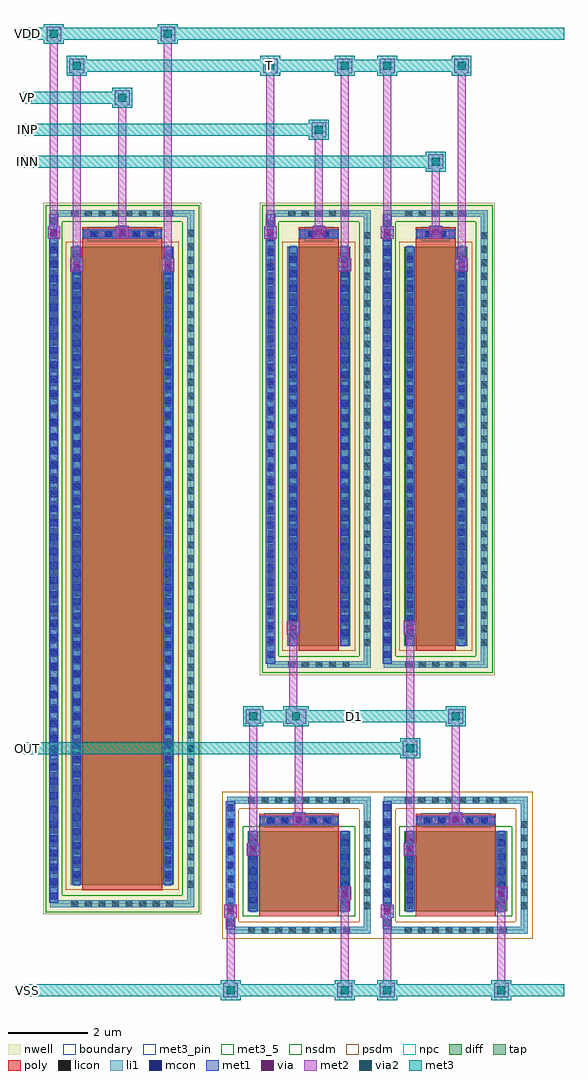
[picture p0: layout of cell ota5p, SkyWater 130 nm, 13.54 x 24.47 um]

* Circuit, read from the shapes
.subckt ota5p D1 INN INP OUT T VDD VP VSS
XM1 VSS D1 D1 VSS sky130_fd_pr__nfet_01v8 w=2 l=2
XM2 VSS D1 OUT VSS sky130_fd_pr__nfet_01v8 w=2 l=2
XM3 VDD VP T VDD sky130_fd_pr__pfet_01v8 w=16 l=2
XM4 T INP D1 T sky130_fd_pr__pfet_01v8 w=10 l=1
XM5 T INN OUT T sky130_fd_pr__pfet_01v8 w=10 l=1
.ends

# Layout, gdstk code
import gdstk
lib = gdstk.Library(unit=1e-6, precision=1e-09)
def R(c, l, rs):  # rectangles x0, y0, x1, y1
    for r in rs: c.add(gdstk.rectangle(r[:2], r[2:], *l))
def A(c, l, x, y, w, h, nx, ny, dx, dy):  # array of equal rectangles
    R(c, l, [(x+i*dx, y+j*dy, x+i*dx+w, y+j*dy+h) for i in range(nx) for j in range(ny)])
nwell = (64, 20)
diff = (65, 20)
tap = (65, 44)
poly = (66, 20)
licon = (66, 44)
li1 = (67, 20)
mcon = (67, 44)
met1 = (68, 20)
via = (68, 44)
met2 = (69, 20)
via2 = (69, 44)
met3_5 = (70, 5)
met3_pin = (70, 16)
met3 = (70, 20)
nsdm = (93, 44)
psdm = (94, 20)
npc = (95, 20)
boundary = (235, 4)

pfet_botc0_guard1_l1_nf1 = lib.new_cell('pfet_botc0_guard1_l1_nf1_topc1_viagl100_w10')
R(pfet_botc0_guard1_l1_nf1, nwell, [(-1.48,-5.92,1.48,5.92)])
R(pfet_botc0_guard1_l1_nf1, diff, [(-0.79,-5.18,0.79,4.82)])
R(pfet_botc0_guard1_l1_nf1, tap, [(-1.3,-5.74,1.3,-5.57), (-1.3,-5.57,-1.13,5.57), (1.13,-5.57,1.3,5.57), (-1.3,5.57,1.3,5.74)])
R(pfet_botc0_guard1_l1_nf1, poly, [(-0.5,-5.31,0.5,5.305)])
A(pfet_botc0_guard1_l1_nf1, licon, -0.765, -5.74, 0.17, 0.17, 5, 2, 0.34, 11.31)
A(pfet_botc0_guard1_l1_nf1, licon, -1.3, -5.185, 0.17, 0.17, 1, 31, 0, 0.34)
A(pfet_botc0_guard1_l1_nf1, licon, 1.13, -5.185, 0.17, 0.17, 1, 31, 0, 0.34)
A(pfet_botc0_guard1_l1_nf1, licon, -0.73, -5.025, 0.17, 0.17, 1, 29, 0, 0.34)
A(pfet_botc0_guard1_l1_nf1, licon, 0.56, -5.025, 0.17, 0.17, 1, 29, 0, 0.34)
R(pfet_botc0_guard1_l1_nf1, licon, [(-0.255,5.055,-0.085,5.225), (0.085,5.055,0.255,5.225)])
R(pfet_botc0_guard1_l1_nf1, li1, [(-1.3,-5.74,1.3,-5.57), (-1.3,-5.57,-1.13,5.57), (1.13,-5.57,1.3,5.57), (-0.73,-5.2,-0.56,4.84), (0.56,-5.2,0.73,4.84), (-0.5,5.055,0.5,5.225), (-1.3,5.57,1.3,5.74)])
A(pfet_botc0_guard1_l1_nf1, mcon, -1.3, -5.485, 0.17, 0.17, 1, 31, 0, 0.36)
A(pfet_botc0_guard1_l1_nf1, mcon, -0.73, -4.945, 0.17, 0.17, 1, 27, 0, 0.36)
A(pfet_botc0_guard1_l1_nf1, mcon, 0.56, -4.945, 0.17, 0.17, 1, 27, 0, 0.36)
R(pfet_botc0_guard1_l1_nf1, mcon, [(-0.265,5.055,-0.095,5.225), (0.095,5.055,0.265,5.225)])
R(pfet_botc0_guard1_l1_nf1, met1, [(-1.33,-5.63,-1.1,5.63), (-0.76,-5.18,-0.53,4.82), (0.53,-5.18,0.76,4.82), (-0.48,5.025,0.48,5.255)])
R(pfet_botc0_guard1_l1_nf1, nsdm, [(-1.425,-5.865,1.425,-5.445), (-1.425,-5.445,-1.005,5.445), (1.005,-5.445,1.425,5.445), (-1.425,5.445,1.425,5.865)])
R(pfet_botc0_guard1_l1_nf1, psdm, [(-0.915,-5.305,0.915,4.945)])
R(pfet_botc0_guard1_l1_nf1, npc, [(-0.355,4.955,0.355,5.325)])
R(pfet_botc0_guard1_l1_nf1, boundary, [(-1.215,-5.655,1.215,5.655)])
pfet_botc0_guard1_l1_nf1.add(gdstk.Label('B', (0,-5.655), layer=67, texttype=5))
pfet_botc0_guard1_l1_nf1.add(gdstk.Label('D', (-0.645,-0.18), layer=67, texttype=5))
pfet_botc0_guard1_l1_nf1.add(gdstk.Label('S', (0.645,-0.18), layer=67, texttype=5))
pfet_botc0_guard1_l1_nf1.add(gdstk.Label('G', (0,5.14), layer=67, texttype=5))

nfet_botc0_guard1_l2_nf1 = lib.new_cell('nfet_botc0_guard1_l2_nf1_topc1_viagl100_w2')
R(nfet_botc0_guard1_l2_nf1, diff, [(-1.29,-1.155,1.29,0.845)])
R(nfet_botc0_guard1_l2_nf1, tap, [(-1.8,-1.715,1.8,-1.545), (-1.8,-1.545,-1.63,1.545), (1.63,-1.545,1.8,1.545), (-1.8,1.545,1.8,1.715)])
R(nfet_botc0_guard1_l2_nf1, poly, [(-1,-1.285,1,1.285)])
A(nfet_botc0_guard1_l2_nf1, licon, -1.275, -1.715, 0.17, 0.17, 8, 2, 0.34, 3.26)
A(nfet_botc0_guard1_l2_nf1, licon, -1.8, -1.105, 0.17, 0.17, 1, 7, 0, 0.34)
A(nfet_botc0_guard1_l2_nf1, licon, 1.63, -1.105, 0.17, 0.17, 1, 7, 0, 0.34)
A(nfet_botc0_guard1_l2_nf1, licon, -1.23, -1.09, 0.17, 0.17, 1, 6, 0, 0.34)
A(nfet_botc0_guard1_l2_nf1, licon, 1.06, -1.09, 0.17, 0.17, 1, 6, 0, 0.34)
A(nfet_botc0_guard1_l2_nf1, licon, -0.765, 1.035, 0.17, 0.17, 5, 1, 0.34, 0)
R(nfet_botc0_guard1_l2_nf1, li1, [(-1.8,-1.715,1.8,-1.545), (-1.8,-1.545,-1.63,1.545), (1.63,-1.545,1.8,1.545), (-1.23,-1.175,-1.06,0.865), (1.06,-1.175,1.23,0.865), (-1,1.035,1,1.205), (-1.8,1.545,1.8,1.715)])
A(nfet_botc0_guard1_l2_nf1, mcon, -1.8, -1.525, 0.17, 0.17, 1, 9, 0, 0.36)
A(nfet_botc0_guard1_l2_nf1, mcon, -1.23, -0.96, 0.17, 0.17, 1, 5, 0, 0.36)
A(nfet_botc0_guard1_l2_nf1, mcon, 1.06, -0.96, 0.17, 0.17, 1, 5, 0, 0.36)
A(nfet_botc0_guard1_l2_nf1, mcon, -0.805, 1.035, 0.17, 0.17, 5, 1, 0.36, 0)
R(nfet_botc0_guard1_l2_nf1, met1, [(-1.83,-1.605,-1.6,1.605), (-1.26,-1.155,-1.03,0.845), (1.03,-1.155,1.26,0.845), (-0.98,1.005,0.98,1.235)])
R(nfet_botc0_guard1_l2_nf1, nsdm, [(-1.415,-1.28,1.415,0.97)])
R(nfet_botc0_guard1_l2_nf1, psdm, [(-1.925,-1.84,1.925,-1.42), (-1.925,-1.42,-1.505,1.42), (1.505,-1.42,1.925,1.42), (-1.925,1.42,1.925,1.84)])
R(nfet_botc0_guard1_l2_nf1, npc, [(-0.865,0.935,0.865,1.305)])
R(nfet_botc0_guard1_l2_nf1, boundary, [(-1.715,-1.63,1.715,1.63)])
nfet_botc0_guard1_l2_nf1.add(gdstk.Label('B', (0,-1.63), layer=67, texttype=5))
nfet_botc0_guard1_l2_nf1.add(gdstk.Label('D', (-1.145,-0.155), layer=67, texttype=5))
nfet_botc0_guard1_l2_nf1.add(gdstk.Label('S', (1.145,-0.155), layer=67, texttype=5))
nfet_botc0_guard1_l2_nf1.add(gdstk.Label('G', (0,1.12), layer=67, texttype=5))

pfet_botc0_guard1_l2_nf1 = lib.new_cell('pfet_botc0_guard1_l2_nf1_topc1_viagl100_w16')
R(pfet_botc0_guard1_l2_nf1, nwell, [(-1.98,-8.92,1.98,8.92)])
R(pfet_botc0_guard1_l2_nf1, diff, [(-1.29,-8.18,1.29,7.82)])
R(pfet_botc0_guard1_l2_nf1, tap, [(-1.8,-8.74,1.8,-8.57), (-1.8,-8.57,-1.63,8.57), (1.63,-8.57,1.8,8.57), (-1.8,8.57,1.8,8.74)])
R(pfet_botc0_guard1_l2_nf1, poly, [(-1,-8.31,1,8.305)])
A(pfet_botc0_guard1_l2_nf1, licon, -1.275, -8.74, 0.17, 0.17, 8, 2, 0.34, 17.31)
A(pfet_botc0_guard1_l2_nf1, licon, -1.8, -8.245, 0.17, 0.17, 1, 49, 0, 0.34)
A(pfet_botc0_guard1_l2_nf1, licon, 1.63, -8.245, 0.17, 0.17, 1, 49, 0, 0.34)
A(pfet_botc0_guard1_l2_nf1, licon, -1.23, -8.085, 0.17, 0.17, 1, 47, 0, 0.34)
A(pfet_botc0_guard1_l2_nf1, licon, 1.06, -8.085, 0.17, 0.17, 1, 47, 0, 0.34)
A(pfet_botc0_guard1_l2_nf1, licon, -0.765, 8.055, 0.17, 0.17, 5, 1, 0.34, 0)
R(pfet_botc0_guard1_l2_nf1, li1, [(-1.8,-8.74,1.8,-8.57), (-1.8,-8.57,-1.63,8.57), (1.63,-8.57,1.8,8.57), (-1.23,-8.2,-1.06,7.84), (1.06,-8.2,1.23,7.84), (-1,8.055,1,8.225), (-1.8,8.57,1.8,8.74)])
A(pfet_botc0_guard1_l2_nf1, mcon, -1.8, -8.545, 0.17, 0.17, 1, 48, 0, 0.36)
A(pfet_botc0_guard1_l2_nf1, mcon, -1.23, -8.005, 0.17, 0.17, 1, 44, 0, 0.36)
A(pfet_botc0_guard1_l2_nf1, mcon, 1.06, -8.005, 0.17, 0.17, 1, 44, 0, 0.36)
A(pfet_botc0_guard1_l2_nf1, mcon, -0.805, 8.055, 0.17, 0.17, 5, 1, 0.36, 0)
R(pfet_botc0_guard1_l2_nf1, met1, [(-1.83,-8.63,-1.6,8.63), (-1.26,-8.18,-1.03,7.82), (1.03,-8.18,1.26,7.82), (-0.98,8.025,0.98,8.255)])
R(pfet_botc0_guard1_l2_nf1, nsdm, [(-1.925,-8.865,1.925,-8.445), (-1.925,-8.445,-1.505,8.445), (1.505,-8.445,1.925,8.445), (-1.925,8.445,1.925,8.865)])
R(pfet_botc0_guard1_l2_nf1, psdm, [(-1.415,-8.305,1.415,7.945)])
R(pfet_botc0_guard1_l2_nf1, npc, [(-0.865,7.955,0.865,8.325)])
R(pfet_botc0_guard1_l2_nf1, boundary, [(-1.715,-8.655,1.715,8.655)])
pfet_botc0_guard1_l2_nf1.add(gdstk.Label('B', (0,-8.655), layer=67, texttype=5))
pfet_botc0_guard1_l2_nf1.add(gdstk.Label('D', (-1.145,-0.18), layer=67, texttype=5))
pfet_botc0_guard1_l2_nf1.add(gdstk.Label('S', (1.145,-0.18), layer=67, texttype=5))
pfet_botc0_guard1_l2_nf1.add(gdstk.Label('G', (0,8.14), layer=67, texttype=5))

ota5p = lib.new_cell('ota5p')
R(ota5p, met1, [(5.27,2.315,5.59,2.635), (9.2,2.315,9.52,2.635), (8.13,2.765,8.45,3.085), (12.06,2.765,12.38,3.085), (5.84,3.865,6.16,4.185), (9.77,3.865,10.09,4.185), (6.985,4.635,7.305,4.955), (10.915,4.635,11.235,4.955), (6.84,9.425,7.16,9.745), (9.77,9.425,10.09,9.745), (1.41,18.525,1.73,18.845), (3.7,18.525,4.02,18.845), (8.13,18.525,8.45,18.845), (11.06,18.525,11.38,18.845), (0.84,19.335,1.16,19.655), (6.27,19.335,6.59,19.655), (9.2,19.335,9.52,19.655), (2.555,19.34,2.875,19.66), (7.485,19.34,7.805,19.66), (10.415,19.34,10.735,19.66)])
R(ota5p, via, [(5.355,2.4,5.505,2.55), (9.285,2.4,9.435,2.55), (8.215,2.85,8.365,3), (12.145,2.85,12.295,3), (5.925,3.95,6.075,4.1), (9.855,3.95,10.005,4.1), (7.07,4.72,7.22,4.87), (11,4.72,11.15,4.87), (6.925,9.51,7.075,9.66), (9.855,9.51,10.005,9.66), (1.495,18.61,1.645,18.76), (3.785,18.61,3.935,18.76), (8.215,18.61,8.365,18.76), (11.145,18.61,11.295,18.76), (0.925,19.42,1.075,19.57), (6.355,19.42,6.505,19.57), (9.285,19.42,9.435,19.57), (2.64,19.425,2.79,19.575), (7.57,19.425,7.72,19.575), (10.5,19.425,10.65,19.575)])
R(ota5p, met2, [(5.245,0.315,5.615,0.685), (8.105,0.315,8.475,0.685), (9.175,0.315,9.545,0.685), (12.035,0.315,12.405,0.685), (5.33,0.685,5.53,2.315), (8.19,0.685,8.39,2.765), (9.26,0.685,9.46,2.315), (12.12,0.685,12.32,2.765), (5.27,2.315,5.59,2.635), (9.2,2.315,9.52,2.635), (8.13,2.765,8.45,3.085), (12.06,2.765,12.38,3.085), (5.84,3.865,6.16,4.185), (9.77,3.865,10.09,4.185), (5.9,4.185,6.1,7.175), (9.83,4.185,10.03,6.375), (6.985,4.635,7.305,4.955), (10.915,4.635,11.235,4.955), (7.045,4.955,7.245,7.175), (10.975,4.955,11.175,7.175), (9.745,6.375,10.115,6.745), (9.83,6.745,10.03,9.425), (5.815,7.175,6.185,7.545), (6.815,7.175,7.33,7.545), (10.89,7.175,11.26,7.545), (6.9,7.545,7.1,9.425), (6.84,9.425,7.16,9.745), (9.77,9.425,10.09,9.745), (1.41,18.525,1.73,18.845), (3.7,18.525,4.02,18.845), (8.13,18.525,8.45,18.845), (11.06,18.525,11.38,18.845), (1.47,18.845,1.67,23.485), (3.76,18.845,3.96,24.285), (8.19,18.845,8.39,23.485), (11.12,18.845,11.32,23.485), (0.84,19.335,1.16,19.655), (6.27,19.335,6.59,19.655), (9.2,19.335,9.52,19.655), (2.555,19.34,2.875,19.66), (7.485,19.34,7.805,19.66), (10.415,19.34,10.735,19.66), (0.9,19.655,1.1,24.285), (6.33,19.655,6.53,23.485), (9.26,19.655,9.46,23.485), (2.615,19.66,2.815,22.685), (7.545,19.66,7.745,21.885), (10.475,19.66,10.675,21.085), (10.39,21.085,10.76,21.455), (7.46,21.885,7.83,22.255), (2.53,22.685,2.9,23.055), (1.385,23.485,1.755,23.855), (6.245,23.485,6.615,23.855), (8.105,23.485,8.475,23.855), (9.175,23.485,9.545,23.855), (11.035,23.485,11.405,23.855), (0.815,24.285,1.185,24.655), (3.675,24.285,4.045,24.655)])
R(ota5p, via2, [(5.33,0.4,5.53,0.6), (8.19,0.4,8.39,0.6), (9.26,0.4,9.46,0.6), (12.12,0.4,12.32,0.6), (9.83,6.46,10.03,6.66), (5.9,7.26,6.1,7.46), (6.97,7.26,7.17,7.46), (10.975,7.26,11.175,7.46), (10.475,21.17,10.675,21.37), (7.545,21.97,7.745,22.17), (2.615,22.77,2.815,22.97), (1.47,23.57,1.67,23.77), (6.33,23.57,6.53,23.77), (8.19,23.57,8.39,23.77), (9.26,23.57,9.46,23.77), (11.12,23.57,11.32,23.77), (0.9,24.37,1.1,24.57), (3.76,24.37,3.96,24.57)])
R(ota5p, met3_5, [(8.44,7.26,8.64,7.46), (6.295,23.57,6.495,23.77)])
A(ota5p, met3_pin, 0.25, 21.17, 0.2, 0.2, 1, 3, 0, 0.8)
R(ota5p, met3_pin, [(0.25,0.4,0.45,0.6), (0.25,6.46,0.45,6.66), (0.25,24.37,0.45,24.57)])
R(ota5p, met3, [(5.18,0.25,5.68,0.35), (8.04,0.25,8.54,0.35), (9.11,0.25,9.61,0.35), (11.97,0.25,12.47,0.35), (0.25,0.35,13.79,0.65), (5.18,0.65,5.68,0.75), (8.04,0.65,8.54,0.75), (9.11,0.65,9.61,0.75), (11.97,0.65,12.47,0.75), (9.68,6.31,10.18,6.41), (0.25,6.41,10.18,6.71), (9.68,6.71,10.18,6.81), (5.75,7.11,6.25,7.21), (6.75,7.11,7.395,7.21), (10.825,7.11,11.325,7.21), (5.75,7.21,11.325,7.51), (5.75,7.51,6.25,7.61), (6.75,7.51,7.395,7.61), (10.825,7.51,11.325,7.61), (10.325,21.02,10.825,21.12), (0.25,21.12,10.825,21.42), (10.325,21.42,10.825,21.52), (7.395,21.82,7.895,21.92), (0.25,21.92,7.895,22.22), (7.395,22.22,7.895,22.32), (2.465,22.62,2.965,22.72), (0.25,22.72,2.965,23.02), (2.465,23.02,2.965,23.12), (1.32,23.42,1.82,23.52), (6.18,23.42,6.68,23.52), (8.04,23.42,8.54,23.52), (9.11,23.42,9.61,23.52), (10.97,23.42,11.47,23.52), (1.32,23.52,11.47,23.82), (1.32,23.82,1.82,23.92), (6.18,23.82,6.68,23.92), (8.04,23.82,8.54,23.92), (9.11,23.82,9.61,23.92), (10.97,23.82,11.47,23.92), (0.75,24.22,1.25,24.32), (3.61,24.22,4.11,24.32), (0.25,24.32,13.79,24.62), (0.75,24.62,1.25,24.72), (3.61,24.62,4.11,24.72)])
R(ota5p, nsdm, [(9.07,8.45,9.15,20.18)])
R(ota5p, psdm, [(9.07,1.79,9.15,5.47)])
ota5p.add(gdstk.Reference(pfet_botc0_guard1_l1_nf1, (7.645,14.315)))
ota5p.add(gdstk.Reference(pfet_botc0_guard1_l1_nf1, (10.575,14.315)))
ota5p.add(gdstk.Reference(nfet_botc0_guard1_l2_nf1, (7.145,3.63)))
ota5p.add(gdstk.Reference(nfet_botc0_guard1_l2_nf1, (11.075,3.63)))
ota5p.add(gdstk.Reference(pfet_botc0_guard1_l2_nf1, (2.715,11.315)))
ota5p.add(gdstk.Label('D1', (8.54,7.36), layer=70, texttype=5))
ota5p.add(gdstk.Label('T', (6.395,23.67), layer=70, texttype=5))
ota5p.add(gdstk.Label('INP', (0.35,22.07), layer=70, texttype=5))
ota5p.add(gdstk.Label('INN', (0.35,21.27), layer=70, texttype=5))
ota5p.add(gdstk.Label('OUT', (0.35,6.56), layer=70, texttype=5))
ota5p.add(gdstk.Label('VP', (0.35,22.87), layer=70, texttype=5))
ota5p.add(gdstk.Label('VDD', (0.35,24.47), layer=70, texttype=5))
ota5p.add(gdstk.Label('VSS', (0.35,0.5), layer=70, texttype=5))

lib.write_gds('ota5p.gds')
